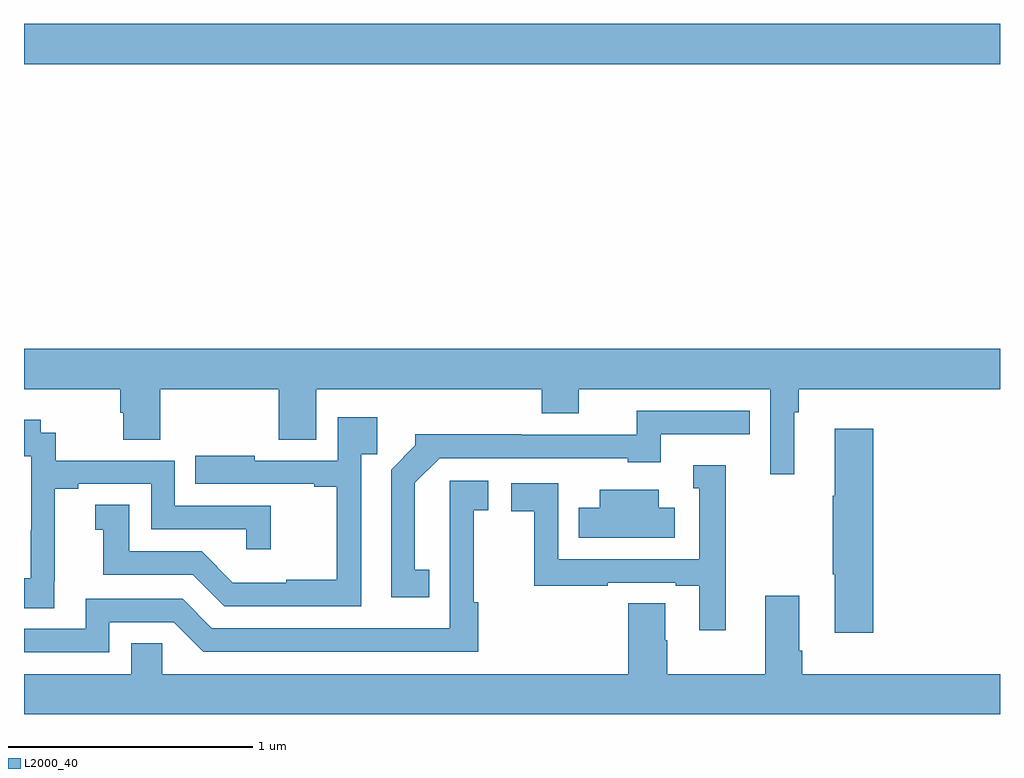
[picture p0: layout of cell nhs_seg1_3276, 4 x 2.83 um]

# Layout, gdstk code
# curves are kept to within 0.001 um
import gdstk
lib = gdstk.Library(unit=1e-6, precision=1e-09)
def R(c, l, rs):  # rectangles x0, y0, x1, y1
    for r in rs: c.add(gdstk.rectangle(r[:2], r[2:], *l))
def P(c, l, *ps):  # polygons
    for p in ps: c.add(gdstk.Polygon(p, *l))
L2000_40 = (2000, 40)

nhs_seg1_3276 = lib.new_cell('nhs_seg1_3276')
R(nhs_seg1_3276, L2000_40, [(289,513.104,293,513.268)])
P(nhs_seg1_3276, L2000_40, [(292.156,511.676),(292.175,511.676),(292.175,511.772),(293,511.772),(293,511.936),(289,511.936),(289,511.772),(289.394,511.772),(289.394,511.674),(289.406,511.674),(289.406,511.564),(289.559,511.564),(289.559,511.772),(290.045,511.772),(290.045,511.564),(290.197,511.564),(290.197,511.772),(291.122,511.772),(291.122,511.673),(291.274,511.673),(291.274,511.772),(292.059,511.772),(292.059,511.422),(292.156,511.422)],
  [(290.66,511.031),(290.602,511.031),(290.602,511.387),(290.703,511.488),(291.474,511.488),(291.474,511.472),(291.61,511.472),(291.61,511.587),(291.974,511.587),(291.974,511.683),(291.511,511.683),(291.511,511.584),(291.038,511.584),(291.038,511.586),(290.604,511.586),(290.604,511.541),(290.505,511.442),(290.505,510.918),(290.66,510.918)],
  [(290.382,511.505),(290.447,511.505),(290.447,511.657),(290.286,511.657),(290.286,511.479),(289.945,511.479),(289.945,511.498),(289.702,511.498),(289.702,511.383),(290.189,511.383),(290.189,511.371),(290.281,511.371),(290.281,510.991),(290.075,510.991),(290.075,510.979),(289.856,510.979),(289.728,511.107),(289.432,511.107),(289.432,511.298),(289.292,511.298),(289.292,511.195),(289.325,511.195),(289.325,511.011),(289.692,511.011),(289.821,510.882),(290.382,510.882)],
  [(289.124,510.985),(289.126,510.985),(289.126,511.363),(289.222,511.363),(289.222,511.383),(289.521,511.383),(289.521,511.197),(289.911,511.197),(289.911,511.116),(290.012,511.116),(290.012,511.293),(289.617,511.293),(289.617,511.479),(289.13,511.479),(289.13,511.593),(289.068,511.593),(289.068,511.645),(289,511.645),(289,511.497),(289.029,511.497),(289.029,511.193),(289.028,511.193),(289.028,510.996),(289,510.996),(289,510.874),(289.124,510.874)],
  [(292.481,511.609),(292.322,511.609),(292.322,511.334),(292.315,511.334),(292.315,511.012),(292.322,511.012),(292.322,510.774),(292.481,510.774)],
  [(291.877,511.459),(291.743,511.459),(291.743,511.365),(291.768,511.365),(291.768,511.074),(291.189,511.074),(291.189,511.386),(290.997,511.386),(290.997,511.27),(291.091,511.27),(291.091,510.966),(291.392,510.966),(291.392,510.978),(291.671,510.978),(291.671,510.966),(291.767,510.966),(291.767,510.783),(291.877,510.783)],
  [(289.35,510.816),(289.614,510.816),(289.734,510.696),(290.861,510.696),(290.861,510.899),(290.844,510.899),(290.844,511.275),(290.902,511.275),(290.902,511.396),(290.744,511.396),(290.745,510.792),(289.77,510.792),(289.65,510.912),(289.254,510.912),(289.254,510.789),(289,510.789),(289,510.693),(289.35,510.693)],
  [(291.667,511.285),(291.601,511.285),(291.601,511.36),(291.359,511.36),(291.359,511.285),(291.274,511.285),(291.274,511.163),(291.667,511.163)],
  [(293,510.604),(292.19,510.604),(292.19,510.7),(292.177,510.7),(292.177,510.925),(292.037,510.925),(292.037,510.604),(291.636,510.604),(291.636,510.743),(291.628,510.743),(291.628,510.893),(291.476,510.893),(291.476,510.604),(289.566,510.604),(289.566,510.731),(289.439,510.731),(289.439,510.604),(289,510.604),(289,510.44),(293,510.44)])

lib.write_gds('nhs_seg1_3276.gds')
